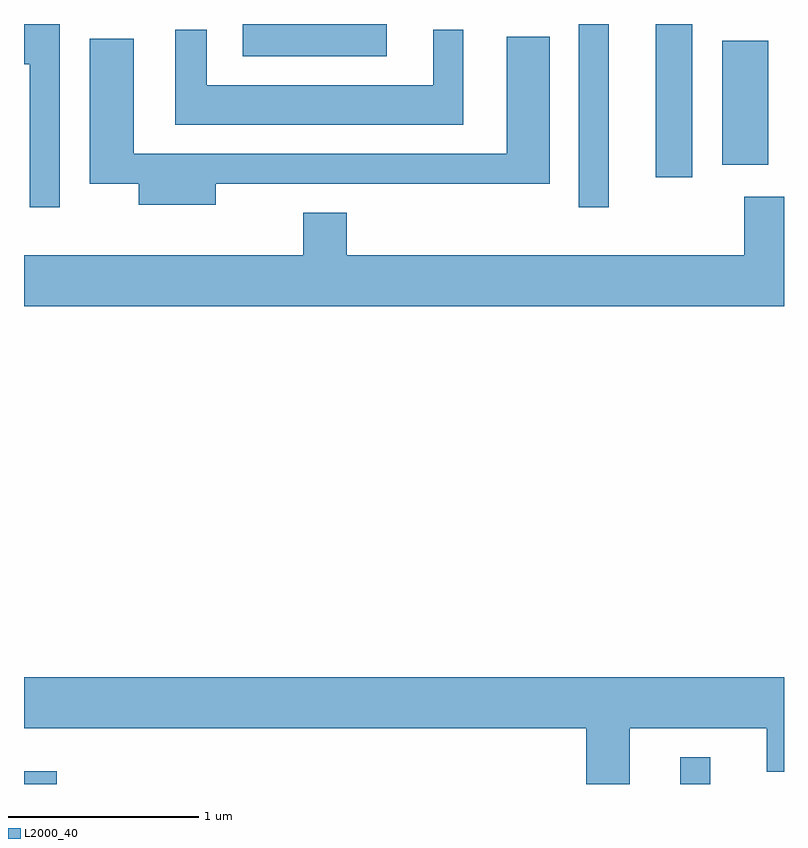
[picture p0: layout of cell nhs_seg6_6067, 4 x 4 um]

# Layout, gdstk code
import gdstk
lib = gdstk.Library(unit=1e-6, precision=1e-09)
def R(c, l, rs):  # rectangles x0, y0, x1, y1
    for r in rs: c.add(gdstk.rectangle(r[:2], r[2:], *l))
def P(c, l, *ps):  # polygons
    for p in ps: c.add(gdstk.Polygon(p, *l))
L2000_40 = (2000, 40)

nhs_seg6_6067 = lib.new_cell('nhs_seg6_6067')
R(nhs_seg6_6067, L2000_40, [(369.611,1574.162,369.784,1574.229), (373.066,1574.162,373.224,1574.303), (372.531,1577.198,372.689,1578.162), (372.936,1577.356,373.129,1578.162), (373.286,1577.421,373.529,1578.074), (370.761,1577.991,371.519,1578.162)])
P(nhs_seg6_6067, L2000_40, [(369.799,1578.162),(369.611,1578.162),(369.611,1577.951),(369.641,1577.951),(369.641,1577.198),(369.799,1577.198)],
  [(371.924,1578.133),(371.766,1578.133),(371.766,1577.839),(370.574,1577.839),(370.574,1578.133),(370.406,1578.133),(370.406,1577.631),(371.924,1577.631)],
  [(370.619,1577.321),(372.379,1577.321),(372.379,1578.094),(372.151,1578.094),(372.151,1577.479),(370.189,1577.479),(370.189,1578.084),(369.956,1578.084),(369.956,1577.321),(370.216,1577.321),(370.216,1577.211),(370.619,1577.211)],
  [(373.611,1577.254),(373.401,1577.254),(373.401,1576.944),(371.309,1576.944),(371.309,1577.169),(371.081,1577.169),(371.081,1576.944),(369.611,1576.944),(369.611,1576.676),(373.611,1576.676)],
  [(372.799,1574.456),(373.521,1574.456),(373.521,1574.226),(373.611,1574.226),(373.611,1574.724),(369.611,1574.724),(369.611,1574.456),(372.571,1574.456),(372.571,1574.162),(372.799,1574.162)])

lib.write_gds('nhs_seg6_6067.gds')
